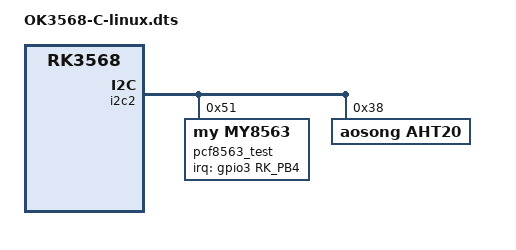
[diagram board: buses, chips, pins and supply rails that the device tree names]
// SPDX-License-Identifier: (GPL-2.0+ OR MIT)
/*
 * Copyright (c) 2020 Rockchip Electronics Co., Ltd.
 *
 */

#include "OK3568-C-common.dtsi"
#include "rk3568-linux.dtsi"
#include <dt-bindings/display/rockchip_vop.h>

&vp0 {
	cursor-win-id = <ROCKCHIP_VOP2_CLUSTER0>;
};

&vp1 {
	cursor-win-id = <ROCKCHIP_VOP2_CLUSTER1>;
};

&i2c2 {
        pcf8563_test: pcf8563@51 {
			compatible = "my,my8563";
			reg = <0x51>;
			#clock-cells = <0>;
			pinctrl-names = "default";
			pinctrl-0 = <&pcf8563_int>;
			interrupt-parent = <&gpio3>;
			interrupts = <RK_PB4 IRQ_TYPE_LEVEL_LOW>;
			status = "okay";
        };
		aht20@38 {
			compatible = "aosong,aht20";
			reg = <0x38>;
			status = "okay";
        };
};

&pinctrl {
	pcf8563 {
		pcf8563_int: pcf8563-int {
			rockchip,pins = <3 RK_PB4 RK_FUNC_GPIO &pcfg_pull_up>;
		};
	};
};
